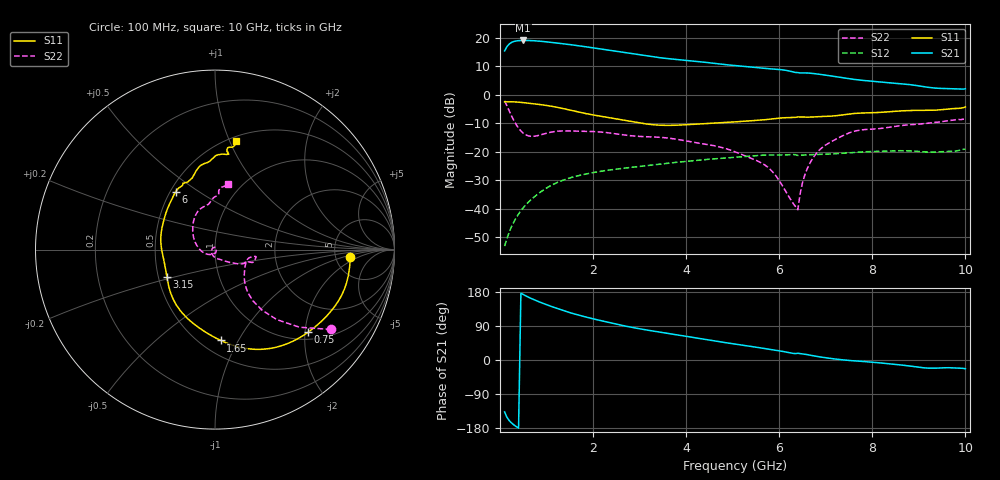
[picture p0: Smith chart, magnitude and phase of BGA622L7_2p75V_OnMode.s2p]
! Infineon Technologies AG
! BGA622L7, SiGe Wide Band Low Noise Amplifier in P-TSLP-7-1
! Vcc=2.75V, Icc=5.8 mA, Vout=0 V (On-Mode)
! 02.08.2004
#  GHz  S  MA  R  50
! f  S11  S21  S12  S22
! GHz  Mag  Ang  Mag  Ang  Mag  Ang  Mag  Ang
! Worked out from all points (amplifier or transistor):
!   199 points, 100 MHz to 10 GHz, reference 50 ohm
!   highest |S21| = 19.1 dB at 500 MHz (marker M1)
!   |S21| within 3 dB of that: 122.5 MHz to 2.161 GHz (2.039 GHz wide, 179 % of centre)
!   unconditionally stable (mu >= 1): start of sweep to end of sweep
!   at 1.75 GHz: K = 1.40, MAG = 18.9 dB, |S12| = -28.1 dB
!   at 5.05 GHz: K = 1.78, MAG = 11.0 dB, |S12| = -21.9 dB
!   at 10 GHz: K = 2.18, MAG = 4.5 dB, |S12| = -19.1 dB
!   lowest NFmin = 0.81 dB at 900 MHz
!   S11 on the Smith chart (normalised r, x): 100 MHz: 6.89, -1.40; 750 MHz: 1.17, -2.08; 1.65 GHz: 0.62, -0.85; 3.15 GHz: 0.56, -0.19; 6 GHz: 0.53, +0.41; 10 GHz: 0.54, +1.06
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0.1  0.7556 -3.3  5.916 -137.0  0.0022 103.9  0.7859 -34.5
0.15  0.7563 -7.4  7.037 -151.2  0.003 91.2  0.6388 -42.6
0.2  0.7568 -11.0  7.833 -160.0  0.0039 91.7  0.5195 -48.6
0.25  0.7561 -14.2  8.353 -166.3  0.0049 93.9  0.4257 -52.2
0.35  0.7498 -20.0  8.86 -175.9  0.007 95.1  0.3 -52.6
0.5  0.7312 -28.1  9.034 172.8  0.0104 91.1  0.2125 -39.8
0.75  0.6936 -41.6  8.904 158.1  0.0165 84.4  0.1882 -17.3
1.15  0.6223 -62.8  8.273 139.3  0.0269 75.8  0.2255 -9.6
1.4  0.5644 -75.1  7.825 128.9  0.0327 69.4  0.2328 -10.4
1.65  0.507 -86.4  7.367 119.8  0.0375 63.5  0.2308 -13.1
1.75  0.4867 -90.8  7.177 116.5  0.0392 61.5  0.2298 -14.4
2.45  0.3855 -121.6  5.902 95.8  0.0491 49.9  0.2092 -19.6
3.15  0.3078 -150.6  4.846 79.2  0.0571 41.9  0.1842 -22.1
3.4  0.2944 -160.2  4.537 74.3  0.0602 40.8  0.1806 -24.4
4.25  0.3067 170.3  3.861 57.5  0.0712 34.0  0.1428 -33.2
5.05  0.3356 146.1  3.275 42.0  0.0801 26.2  0.1 -43.6
6  0.3901 124.1  2.793 24.2  0.0877 14.8  0.0312 -119.5
6.4  0.4111 115.7  2.461 17.8  0.0863 10.2  0.0096 -39.5
6.7  0.4083 111.1  2.389 11.9  0.0893 9.7  0.0722 -170.5
7.45  0.4551 103.0  1.947 -0.6  0.0953 5.8  0.2061 124.3
8.35  0.5047 91.8  1.635 -9.8  0.103 -3.1  0.2691 95.3
10  0.6159 78.8  1.279 -23.1  0.1113 -3.7  0.3728 78.9
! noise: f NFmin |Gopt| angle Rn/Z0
0.9  0.81  0.176  15  0.13
1.5  0.94  0.153  45  0.15
1.8  0.99  0.116  68  0.12
2.4  1.11  0.126  89  0.13
3  1.16  0.159  116  0.12
